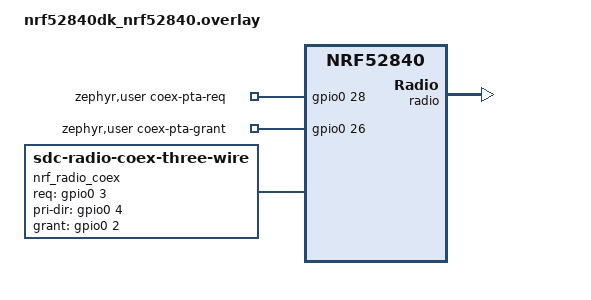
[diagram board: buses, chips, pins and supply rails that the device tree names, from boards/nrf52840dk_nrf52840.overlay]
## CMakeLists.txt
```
# Copyright (c) 2021 Nordic Semiconductor ASA
#
# SPDX-License-Identifier: LicenseRef-Nordic-5-Clause
#

cmake_minimum_required(VERSION 3.20.0)

find_package(Zephyr REQUIRED HINTS $ENV{ZEPHYR_BASE})

project("External radio Bluetooth coexistence sample")

if (NOT CONFIG_SOC_SERIES_NRF52X)
  message(FATAL_ERROR "This sample is only supported on the nRF52 series.")
endif()

# NORDIC SDK APP START
target_sources(app PRIVATE
  src/main.c
)
# NORDIC SDK APP END
```

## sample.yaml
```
sample:
  description: Bluetooth radio coexistence
  name: Bluetooth radio coexistence 3wire sample
tests:
  sample.bluetooth.radio_coex_3wire:
    build_only: true
    integration_platforms:
      - nrf52840dk_nrf52840
    platform_allow: nrf52840dk_nrf52840
    tags: bluetooth ci_build
```

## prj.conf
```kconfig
#
# Copyright (c) 2019 Nordic Semiconductor
#
# SPDX-License-Identifier: LicenseRef-Nordic-5-Clause
#

CONFIG_NCS_SAMPLES_DEFAULTS=y
CONFIG_ASSERT=y

CONFIG_BT=y
CONFIG_BT_PERIPHERAL=y
CONFIG_BT_DEVICE_NAME="Nordic_Bluetooth_Coex"

CONFIG_CONSOLE_SUBSYS=y
CONFIG_CONSOLE_GETCHAR=y
CONFIG_MPSL_CX=y
CONFIG_MPSL_CX_BT_3WIRE=y

CONFIG_NRFX_TIMER2=y
CONFIG_NRFX_GPIOTE=y
```

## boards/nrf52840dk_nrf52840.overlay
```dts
/* Copyright (c) 2021 Nordic Semiconductor ASA
 *
 * SPDX-License-Identifier: LicenseRef-Nordic-5-Clause
 */

/ {
  zephyr,user {
    coex-pta-req-gpios =   <&gpio0 28 GPIO_ACTIVE_HIGH>;
    coex-pta-grant-gpios = <&gpio0 26 GPIO_ACTIVE_HIGH>;
  };

  nrf_radio_coex: radio_coex_three_wire {
    status = "okay";
    compatible = "sdc-radio-coex-three-wire";
    req-gpios =     <&gpio0 3 GPIO_ACTIVE_HIGH>;
    pri-dir-gpios = <&gpio0 4 GPIO_ACTIVE_HIGH>;
    grant-gpios =   <&gpio0 2 GPIO_ACTIVE_HIGH>;
    type-delay-us = <8>;
    radio-delay-us = <5>;
    /delete-property/ is-rx-active-level;
  };
};

&radio {
  coex = <&nrf_radio_coex>;
};
```

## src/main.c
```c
/*
 * Copyright (c) 2021 Nordic Semiconductor ASA
 *
 * SPDX-License-Identifier: LicenseRef-Nordic-5-Clause
 */

#include <stddef.h>
#include <zephyr/sys/printk.h>
#include <zephyr/console/console.h>
#include <zephyr/sys/__assert.h>

#include <zephyr/bluetooth/bluetooth.h>
#include <zephyr/bluetooth/uuid.h>
#include <zephyr/bluetooth/hci.h>
#include <sdc_hci_vs.h>
#include <mpsl_coex.h>

#include <hal/nrf_radio.h>
#include <hal/nrf_egu.h>
#include <nrfx_timer.h>
#include <nrfx_gpiote.h>
#include <nrfx_ppi.h>
#include <helpers/nrfx_gppi.h>

#define ZEPHYR_USER_NODE DT_PATH(zephyr_user)
#if (DT_NODE_HAS_PROP(ZEPHYR_USER_NODE, coex_pta_req_gpios) && \
	DT_NODE_HAS_PROP(ZEPHYR_USER_NODE, coex_pta_grant_gpios) && \
	DT_NODE_HAS_STATUS(DT_PHANDLE(DT_NODELABEL(radio), coex), okay))
/* PTA input */
#define APP_REQ_GPIO_PIN NRF_DT_GPIOS_TO_PSEL(ZEPHYR_USER_NODE, coex_pta_req_gpios)
/* PTA output */
#define APP_GRANT_GPIO_PIN NRF_DT_GPIOS_TO_PSEL(ZEPHYR_USER_NODE, coex_pta_grant_gpios)
#define COEX_NODE DT_PHANDLE(DT_NODELABEL(radio), coex)
#else
#error "Unsupported board: see README and check /zephyr,user node"
#define APP_REQ_GPIO_PIN 0
#define APP_GRANT_GPIO_PIN 0
#define CX_NODE DT_INVALID_NODE
#endif

#define gppi_channel_t nrf_ppi_channel_t
#define gppi_channel_alloc nrfx_ppi_channel_alloc

#define EGU0_IRQn SWI0_EGU0_IRQn
#define APP_GRANT_TIMER NRF_TIMER2
#define APP_GRANT_TIMER_ID 2
#define APP_GRANT_TIMER_CC0 0

#define EGU_INT_PRIO 4

#define STACKSIZE CONFIG_MAIN_STACK_SIZE
#define THREAD_PRIORITY K_LOWEST_APPLICATION_THREAD_PRIO

static const struct bt_data ad[] = {
	BT_DATA_BYTES(BT_DATA_FLAGS, (BT_LE_AD_GENERAL | BT_LE_AD_NO_BREDR)),
};

static const nrfx_timer_t grant_timer = NRFX_TIMER_INSTANCE(APP_GRANT_TIMER_ID);
static volatile uint32_t radio_event_count;
static gppi_channel_t app_req_assert_ppi_channel;
static bool state_granted;
static uint8_t app_grant_gpiote_ch;
static uint8_t app_req_assert_gpiote_ch;

static gppi_channel_t allocate_gppi_channel(void)
{
	gppi_channel_t channel;

	if (gppi_channel_alloc(&channel) != NRFX_SUCCESS) {
		__ASSERT(false, "(D)PPI channel allocation error");
	}
	return channel;
}

static void config_gpiote_output(uint32_t pin,
				nrf_gpiote_polarity_t polarity,
				nrf_gpiote_outinit_t init_val,
				uint8_t *channel_gpiote)
{
	if (nrfx_gpiote_channel_alloc(channel_gpiote) != NRFX_SUCCESS) {
		__ASSERT(false, "GPIOTE channel output allocation error");
	}
	nrf_gpiote_task_configure(NRF_GPIOTE, *channel_gpiote, pin,
					polarity, init_val);
	nrf_gpiote_task_enable(NRF_GPIOTE, *channel_gpiote);
}

static void config_gpiote_input(uint32_t pin,
				nrf_gpiote_polarity_t polarity,
				uint8_t *channel_gpiote)
{
	if (nrfx_gpiote_channel_alloc(channel_gpiote) != NRFX_SUCCESS) {
		__ASSERT(false, "GPIOTE channel input allocation error");
	}
	nrf_gpiote_event_configure(NRF_GPIOTE, *channel_gpiote, pin, polarity);
	nrf_gpiote_event_enable(NRF_GPIOTE, *channel_gpiote);
}

static void counter_handler(const void *context)
{
	radio_event_count++;
	nrf_egu_event_clear(NRF_EGU0, NRF_EGU_EVENT_TRIGGERED0);
}

static void setup_radio_event_counter(void)
{
	/*
	 * This function configures the EGU to pends an EGU interrupt every time the
	 * RADIO->EVENTS_READY so that we can count the number of events.
	 */
	IRQ_CONNECT(EGU0_IRQn, EGU_INT_PRIO, counter_handler, NULL, 0);
	nrf_egu_int_enable(NRF_EGU0, NRF_EGU_INT_TRIGGERED0);
	NVIC_EnableIRQ(EGU0_IRQn);

	gppi_channel_t channel = allocate_gppi_channel();

	nrfx_gppi_channel_endpoints_setup(channel,
		nrf_radio_event_address_get(NRF_RADIO, NRF_RADIO_EVENT_READY),
		nrf_egu_task_address_get(NRF_EGU0, NRF_EGU_TASK_TRIGGER0));
	nrfx_gppi_channels_enable(BIT(channel));
}

static void dummy_timer_event_handler(nrf_timer_event_t event_type, void *p_context)
{
}

static void grant_init(void)
{
	/* Setup request GPIOTE (assert) events for application */
	config_gpiote_input(APP_REQ_GPIO_PIN, NRF_GPIOTE_POLARITY_LOTOHI,
				&app_req_assert_gpiote_ch);

	/* Allocate PPI channel for request assert */
	app_req_assert_ppi_channel = allocate_gppi_channel();

	/* Setup request GPIOTE (de-assert) events for application */
	uint8_t app_req_deassert_gpiote_ch;

	config_gpiote_input(APP_REQ_GPIO_PIN, NRF_GPIOTE_POLARITY_HITOLO,
				&app_req_deassert_gpiote_ch);

	/* Allocate PPI channel for request deassert */
	gppi_channel_t app_req_deassert_ppi_channel = allocate_gppi_channel();

	/* Setup grant GPIOTE task for application */
	config_gpiote_output(APP_GRANT_GPIO_PIN,
				NRF_GPIOTE_POLARITY_LOTOHI,
				NRF_GPIOTE_INITIAL_VALUE_HIGH,
				&app_grant_gpiote_ch);

	/* Setup grant timer for application */
	nrfx_timer_config_t grant_timer_cfg = {
		.frequency = NRF_TIMER_FREQ_1MHz,
		.mode      = NRF_TIMER_MODE_TIMER,
		.p_context = NULL,
	};

	if (nrfx_timer_init(&grant_timer, &grant_timer_cfg, dummy_timer_event_handler)
		!= NRFX_SUCCESS) {
		__ASSERT(false, "Failed to initialise grant timer");
	}

	gppi_channel_t app_grant_timer_ppi_channel = allocate_gppi_channel();

	/* Configure the grant timer to start when the request pin is raised. */
	nrf_timer_cc_set(APP_GRANT_TIMER, APP_GRANT_TIMER_CC0, DT_PROP(COEX_NODE, type_delay_us));
	nrf_timer_shorts_enable(APP_GRANT_TIMER,
		NRF_TIMER_SHORT_COMPARE0_STOP_MASK | NRF_TIMER_SHORT_COMPARE0_CLEAR_MASK);
	nrfx_gppi_channel_endpoints_setup(app_grant_timer_ppi_channel,
		nrf_gpiote_event_address_get(NRF_GPIOTE,
			nrf_gpiote_in_event_get(app_req_assert_gpiote_ch)),
		nrf_timer_task_address_get(APP_GRANT_TIMER, NRF_TIMER_TASK_START));
	nrfx_gppi_channels_enable(BIT(app_grant_timer_ppi_channel));

	/* Start with request granted */
	nrfx_gppi_channel_endpoints_setup(app_req_assert_ppi_channel,
		nrf_timer_event_address_get(APP_GRANT_TIMER, NRF_TIMER_EVENT_COMPARE0),
		nrf_gpiote_task_address_get(NRF_GPIOTE,
			nrf_gpiote_set_task_get(app_grant_gpiote_ch)));
	nrfx_gppi_channels_enable(BIT(app_req_assert_ppi_channel));
	radio_event_count = 0;
	state_granted = true;

	/* Make grant return-to-one */
	nrfx_gppi_channel_endpoints_setup(app_req_deassert_ppi_channel,
		nrf_gpiote_event_address_get(NRF_GPIOTE,
			nrf_gpiote_in_event_get(app_req_deassert_gpiote_ch)),
		nrf_gpiote_task_address_get(NRF_GPIOTE,
			nrf_gpiote_out_task_get(app_grant_gpiote_ch)));
	nrfx_gppi_channels_enable(BIT(app_req_deassert_ppi_channel));
}

static void config_pta_to_always_grant_request(void)
{
	nrfx_gppi_channels_disable(BIT(app_req_assert_ppi_channel));
	nrfx_gppi_task_endpoint_setup(app_req_assert_ppi_channel,
		nrf_gpiote_task_address_get(NRF_GPIOTE,
			nrf_gpiote_set_task_get(app_grant_gpiote_ch)));
	nrfx_gppi_channels_enable(BIT(app_req_assert_ppi_channel));
}

static void config_pta_to_always_deny_request(void)
{
	nrfx_gppi_channels_disable(BIT(app_req_assert_ppi_channel));
	nrfx_gppi_task_endpoint_setup(app_req_assert_ppi_channel,
		nrf_gpiote_task_address_get(NRF_GPIOTE,
			nrf_gpiote_clr_task_get(app_grant_gpiote_ch)));
	nrfx_gppi_channels_enable(BIT(app_req_assert_ppi_channel));
}

static void print_state(void)
{
	if (state_granted)
		printk("Current state is: Grant every request\n");
	else
		printk("Current state is: Deny every request\n");
}

static void console_setup(void)
{
	if (console_init()) {
		__ASSERT(false, "Failed to initialise console");
	}

	printk("-----------------------------------------------------\n");
	printk("Press a key to change state:\n");
	printk("'g' to grant every request\n");
	printk("'d' to deny every request\n");
	printk("-----------------------------------------------------\n");
	print_state();
}

static void check_input(void)
{
	char input_char;
	bool new_state_granted = state_granted;

	input_char = console_getchar();
	if (input_char == 'g') {
		new_state_granted = true;
	} else if (input_char == 'd') {
		new_state_granted = false;
	} else {
		return;
	}

	if (state_granted != new_state_granted) {
		if (new_state_granted) {
			config_pta_to_always_grant_request();
		} else {
			config_pta_to_always_deny_request();
		}

		state_granted = new_state_granted;
		print_state();
		radio_event_count = 0;
	}
}

static void console_print_thread(void)
{
	while (1) {
		printk("Number of radio events last second: %d\n", radio_event_count);
		radio_event_count = 0;
		k_sleep(K_MSEC(1000));
	}
}

static int set_prio(void)
{
	int err = 0;
	struct net_buf *buf;
	sdc_hci_cmd_vs_coex_priority_config_t *cmd_params;

	buf = bt_hci_cmd_create(SDC_HCI_OPCODE_CMD_VS_COEX_PRIORITY_CONFIG,
				sizeof(*cmd_params));
	if (!buf) {
		printk("Could not allocate command buffer\n");
		return -ENOMEM;
	}
	cmd_params = net_buf_add(buf, sizeof(*cmd_params));
	cmd_params->role = SDC_HCI_VS_COEX_BT_ROLE_ADVERTISER;
	cmd_params->priority = MPSL_COEX_PRIORITY_LOW;
	cmd_params->escalation_threshold = MPSL_COEX_ESCALATION_THRESHOLD_OFF;
	err = bt_hci_cmd_send_sync(SDC_HCI_OPCODE_CMD_VS_COEX_PRIORITY_CONFIG, buf, NULL);
	if (err) {
		return err;
	}

	printk("Successfully set role priority\n");

	return 0;
}

static int set_scan_mode(void)
{
	int err = 0;
	struct net_buf *buf;
	sdc_hci_cmd_vs_coex_scan_mode_config_t *cmd_params;

	buf = bt_hci_cmd_create(SDC_HCI_OPCODE_CMD_VS_COEX_SCAN_MODE_CONFIG,
				sizeof(*cmd_params));
	if (!buf) {
		printk("Could not allocate command buffer\n");
		return -ENOMEM;
	}

	cmd_params = net_buf_add(buf, sizeof(*cmd_params));
	cmd_params->mode = SDC_HCI_VS_COEX_SCAN_MODE_REQUEST_ON_TX;

	err = bt_hci_cmd_send_sync(SDC_HCI_OPCODE_CMD_VS_COEX_SCAN_MODE_CONFIG, buf, NULL);
	if (err) {
		return err;
	}

	printk("Successfully set scan mode\n");

	return 0;
}

void main(void)
{
	int err;

	printk("Starting Radio Coex Demo 3wire on board %s\n", CONFIG_BOARD);

	if (bt_enable(NULL)) {
		printk("Bluetooth init failed");
		return;
	}
	printk("Bluetooth initialized\n");

	/* Demonstrate how to set the role priorities and scan mode, even though
	 * this sample only does advertising.
	 */
	err = set_prio();
	if (err) {
		printk("Error setting coex per-state priorities: %d\n", err);
	}

	err = set_scan_mode();
	if (err) {
		printk("Error setting coex scan mode: %d\n", err);
	}

	setup_radio_event_counter();

	grant_init();

	if (bt_le_adv_start(BT_LE_ADV_NCONN, ad, ARRAY_SIZE(ad), NULL, 0)) {
		printk("Advertising failed to start");
		return;
	}
	printk("Advertising started\n");

	console_setup();

	while (1) {
		check_input();
		k_sleep(K_MSEC(100));
	}
}

K_THREAD_DEFINE(console_print_thread_id, STACKSIZE, console_print_thread,
		NULL, NULL, NULL, THREAD_PRIORITY, 0, 0);
```
